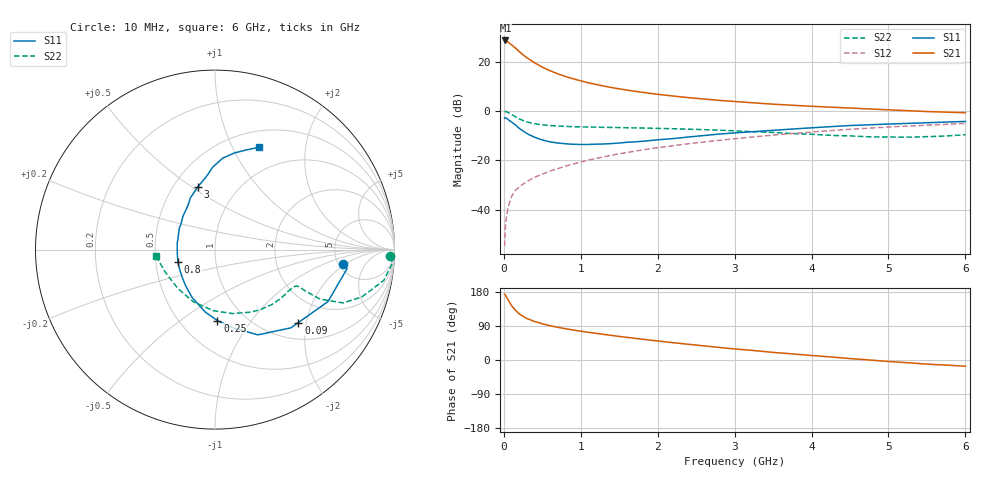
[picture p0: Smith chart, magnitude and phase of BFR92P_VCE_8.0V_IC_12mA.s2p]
! Infineon Technologies  Discrete & RF Semiconductors
! BFR92P
! VCE =  8.0 V,  IC =  12 mA
! Common Emitter S-Parameters:  Apr 2014
# GHz  S  MA  R  50
!  f  S11  S21  S12  S22
! GHz  MAG  ANG  MAG  ANG  MAG  ANG  MAG  ANG
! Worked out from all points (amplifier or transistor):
!   77 points, 10 MHz to 6 GHz, reference 50 ohm
!   highest |S21| = 28.8 dB at 20 MHz (marker M1)
!   |S21| within 3 dB of that: start of sweep to 148.7 MHz
!   unconditionally stable (mu >= 1): 674.1 MHz to 2.371 GHz
!   at 130 MHz: K = 0.41, MSG = 29.7 dB, |S12| = -33.2 dB
!   at 2.2 GHz: K = 1.01, MAG = 9.4 dB, |S12| = -14.0 dB
!   at 6 GHz: K = 0.85, MSG = 2.2 dB, |S12| = -5.0 dB
!   S11 on the Smith chart (normalised r, x): 10 MHz: 5.53, -1.82; 90 MHz: 1.37, -1.80; 250 MHz: 0.75, -0.70; 800 MHz: 0.65, -0.10; 3 GHz: 0.66, +0.53; 6 GHz: 0.69, +1.27
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0.01  0.7201 -6.3  27 173.8  0.0018 79.2  0.9769 -2.2
0.02  0.7435 -8.2  27.44 171.4  0.0044 86.5  0.9923 -4.3
0.05  0.6929 -24.7  26.03 160.3  0.01 78.8  0.9552 -10.4
0.09  0.617 -41.2  23.01 147.0  0.0166 71.3  0.8764 -16.3
0.1  0.6072 -45.9  22.48 143.2  0.0183 70.3  0.8584 -18.0
0.15  0.5318 -63.3  19.35 131.5  0.0245 66.5  0.7728 -22.6
0.2  0.4464 -77.2  16.3 121.7  0.0287 64.1  0.6963 -24.1
0.25  0.3961 -88.0  14 115.4  0.033 64.7  0.6467 -25.2
0.3  0.352 -98.9  12.18 109.3  0.0371 63.8  0.604 -25.0
0.4  0.2956 -115.6  9.608 101.4  0.045 64.8  0.5549 -24.6
0.5  0.2604 -128.7  7.871 95.5  0.0524 66.2  0.528 -24.1
0.6  0.2378 -140.8  6.654 90.5  0.0604 67.0  0.5108 -23.9
0.7  0.2253 -151.0  5.765 86.3  0.0678 68.1  0.4997 -23.9
0.8  0.218 -161.1  5.085 82.6  0.0764 68.4  0.4909 -24.6
1.1  0.211 176.0  3.782 73.0  0.1015 68.8  0.4775 -27.2
1.5  0.2252 153.1  2.847 62.2  0.1362 67.5  0.4646 -32.5
2.1  0.2693 128.2  2.119 48.0  0.1899 63.5  0.4435 -42.2
3  0.3619 105.5  1.575 29.2  0.2751 55.7  0.3994 -60.8
3.1  0.3705 103.6  1.535 27.5  0.2851 54.4  0.3917 -63.4
4.1  0.4693 90.2  1.238 10.4  0.3874 43.5  0.3323 -95.3
5.1  0.5546 77.5  1.049 -5.3  0.4849 30.1  0.297 -138.3
6  0.6197 66.8  0.932 -16.3  0.5645 17.8  0.3322 -174.0
